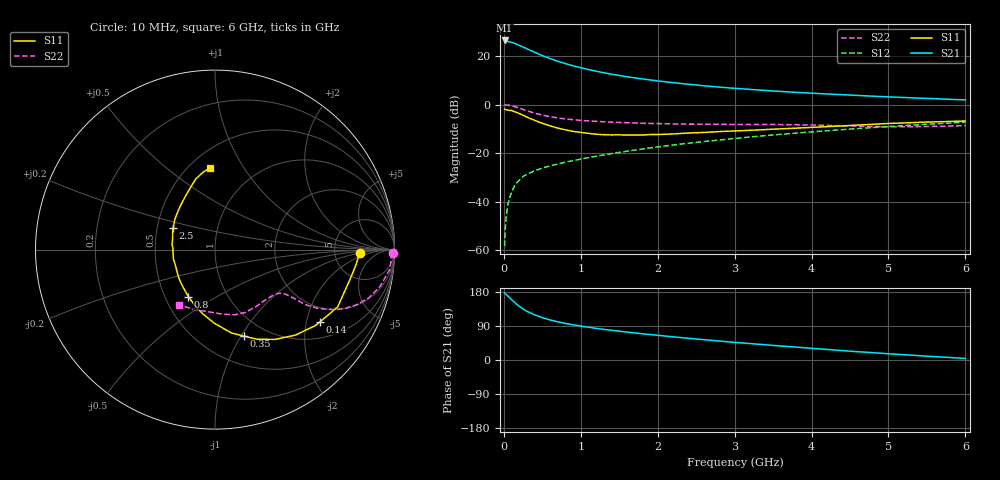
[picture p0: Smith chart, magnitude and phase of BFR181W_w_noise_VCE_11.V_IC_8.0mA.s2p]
! Infineon Technologies  Discrete & RF Semiconductors
! BFR181W
! VCE =  11. V,  IC =  8.0 mA
! Common Emitter S-Parameters:  Jan 2017
# GHz  S  MA  R  50
!  f  S11  S21  S12  S22
! GHz  MAG  ANG  MAG  ANG  MAG  ANG  MAG  ANG
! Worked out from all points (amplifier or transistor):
!   77 points, 10 MHz to 6 GHz, reference 50 ohm
!   highest |S21| = 26.4 dB at 10 MHz (marker M1)
!   |S21| within 3 dB of that: start of sweep to 271 MHz
!   unconditionally stable (mu >= 1): 1.166 GHz to 3.223 GHz
!   at 130 MHz: K = 0.23, MSG = 29.7 dB, |S12| = -34.1 dB
!   at 2.2 GHz: K = 1.06, MAG = 11.3 dB, |S12| = -16.7 dB
!   at 6 GHz: K = 0.86, MSG = 4.6 dB, |S12| = -7.3 dB
!   lowest NFmin = 1.14 dB at 450 MHz
!   S11 on the Smith chart (normalised r, x): 10 MHz: 9.15, -1.10; 140 MHz: 1.49, -2.42; 350 MHz: 0.79, -1.03; 800 MHz: 0.65, -0.38; 2.5 GHz: 0.61, +0.15; 6 GHz: 0.63, +0.73
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0.01  0.8056 -1.5  20.99 177.4  0.0012 82.9  0.9938 -1.2
0.02  0.7899 -6.2  20.57 174.7  0.0029 94.3  0.9838 -2.3
0.04  0.7757 -10.4  20.26 171.0  0.0065 86.5  0.9809 -5.0
0.1  0.7546 -25.0  19.22 159.1  0.0153 77.2  0.9436 -12.4
0.14  0.7104 -34.4  18.27 152.0  0.0211 73.8  0.9064 -16.4
0.2  0.6542 -46.7  16.71 141.7  0.0275 68.6  0.8448 -21.4
0.25  0.6022 -56.2  15.42 134.6  0.033 64.7  0.793 -24.5
0.3  0.5515 -64.9  14.12 128.6  0.0365 64.5  0.7438 -26.7
0.35  0.5092 -71.3  13.01 124.2  0.0397 62.5  0.704 -28.1
0.4  0.4742 -78.7  11.98 119.0  0.043 60.8  0.6647 -29.6
0.5  0.4105 -90.5  10.23 111.7  0.0488 60.1  0.6063 -31.0
0.6  0.3637 -101.0  8.897 105.8  0.0546 60.0  0.563 -31.5
0.7  0.3271 -110.6  7.828 100.8  0.059 60.8  0.5302 -31.6
0.8  0.301 -119.7  7.003 96.5  0.0651 61.3  0.5066 -31.8
1.1  0.2548 -142.7  5.277 86.5  0.0806 62.9  0.4603 -32.5
1.5  0.2375 -167.1  3.979 76.0  0.1031 64.5  0.4273 -34.9
2.1  0.2441 165.8  2.949 63.2  0.1401 64.7  0.4022 -42.0
2.5  0.262 153.1  2.531 55.5  0.1659 63.8  0.3934 -48.3
3.1  0.2899 137.2  2.11 45.0  0.2068 61.5  0.3885 -58.1
4.1  0.3439 117.9  1.685 29.4  0.2807 55.8  0.3751 -75.0
5.1  0.4127 104.0  1.418 15.2  0.3594 48.1  0.3477 -99.2
6  0.4577 93.2  1.248 4.1  0.433 40.1  0.3683 -123.5
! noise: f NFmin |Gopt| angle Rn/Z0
0.45  1.14  0.2  16  0.21
0.9  1.18  0.19  31  0.21
1.9  1.6  0.07  92  0.2
2.4  1.76  0.06  100  0.23
